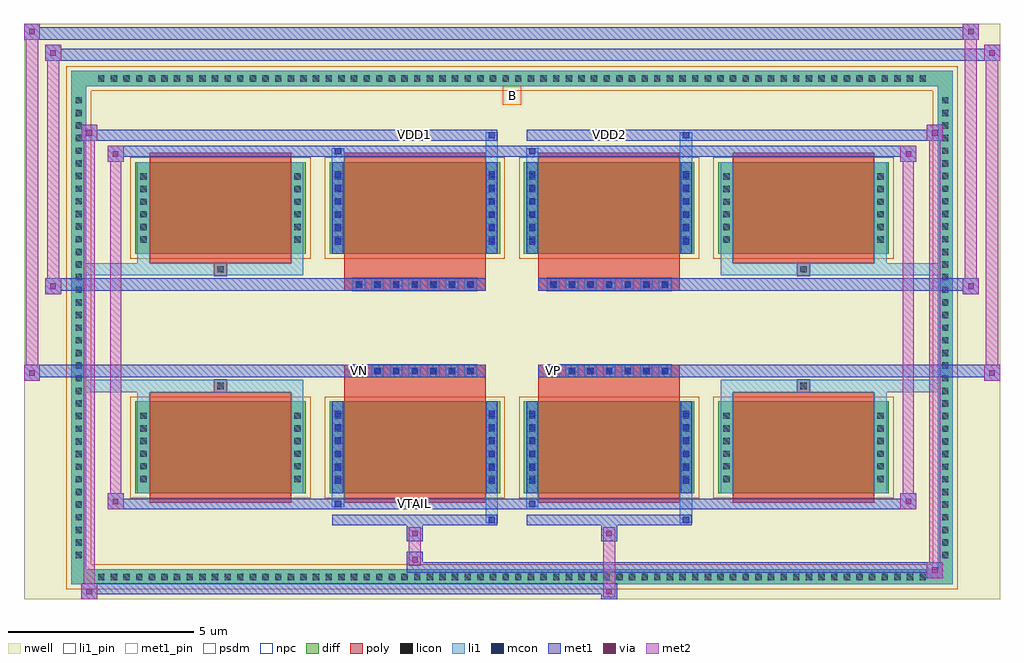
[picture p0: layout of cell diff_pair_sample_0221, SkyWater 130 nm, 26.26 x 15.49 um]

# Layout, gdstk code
import gdstk
lib = gdstk.Library(unit=1e-6, precision=5e-09)
def R(c, l, rs):  # rectangles x0, y0, x1, y1
    for r in rs: c.add(gdstk.rectangle(r[:2], r[2:], *l))
def A(c, l, x, y, w, h, nx, ny, dx, dy):  # array of equal rectangles
    R(c, l, [(x+i*dx, y+j*dy, x+i*dx+w, y+j*dy+h) for i in range(nx) for j in range(ny)])
def P(c, l, *ps):  # polygons
    for p in ps: c.add(gdstk.Polygon(p, *l))
nwell = (64, 20)
diff = (65, 20)
poly = (66, 20)
licon = (66, 44)
li1_pin = (67, 16)
li1 = (67, 20)
mcon = (67, 44)
met1_pin = (68, 16)
met1 = (68, 20)
via = (68, 44)
met2 = (69, 20)
psdm = (94, 20)
npc = (95, 20)

diff_pair_sample_0221 = lib.new_cell('diff_pair_sample_0221')
R(diff_pair_sample_0221, nwell, [(-13.13,-7.31,13.13,8.18), (-10.45,-5.5,-0.01,-0.8), (0.01,-5.5,10.45,-0.8), (-10.45,0.8,-0.01,5.5), (0.01,0.8,10.45,5.5)])
A(diff_pair_sample_0221, diff, -11.255, -6.91, 0.41, 0.41, 66, 2, 0.34, 13.41)
A(diff_pair_sample_0221, diff, -11.86, -6.325, 0.41, 0.41, 1, 37, 0, 0.34)
A(diff_pair_sample_0221, diff, 11.45, -6.325, 0.41, 0.41, 1, 37, 0, 0.34)
A(diff_pair_sample_0221, diff, -10.14, -4.455, 4.59, 2.47, 4, 2, 5.23, 6.44)
R(diff_pair_sample_0221, diff, [(-11.255,-6.91,11.255,-6.5), (-11.86,-6.325,-11.45,6.325), (11.45,-6.325,11.86,6.325), (-11.255,6.5,11.255,6.91)])
P(diff_pair_sample_0221, diff, [(11.86,6.91),(-11.86,6.91),(-11.86,-6.5),(-11.45,-6.5),(-11.45,6.5),(11.45,6.5),(11.45,-6.5),(-11.45,-6.5),(-11.86,-6.5),(-11.86,-6.91),(11.86,-6.91)])
A(diff_pair_sample_0221, poly, -9.75, -4.705, 3.81, 2.97, 4, 2, 5.23, 6.44)
A(diff_pair_sample_0221, poly, -4.28, -1.33, 0.33, 0.33, 7, 2, 0.5, 2.33)
A(diff_pair_sample_0221, poly, 0.95, -1.33, 0.33, 0.33, 7, 2, 0.5, 2.33)
R(diff_pair_sample_0221, poly, [(-8.01,-1.735,-7.68,-1.405), (-8.01,-1.735,-7.68,-1.405), (-4.52,-1.735,-0.71,-1.33), (0.71,-1.735,4.52,-1.33), (7.68,-1.735,8.01,-1.405), (7.68,-1.735,8.01,-1.405), (-4.52,-1.33,-0.71,-1), (0.71,-1.33,4.52,-1), (-4.52,1,-0.71,1.33), (0.71,1,4.52,1.33), (-4.52,1.33,-0.71,1.735), (0.71,1.33,4.52,1.735), (-8.01,1.405,-7.68,1.735), (-8.01,1.405,-7.68,1.735), (7.68,1.405,8.01,1.735), (7.68,1.405,8.01,1.735)])
A(diff_pair_sample_0221, licon, -11.135, -6.79, 0.17, 0.17, 66, 2, 0.34, 13.41)
A(diff_pair_sample_0221, licon, -11.74, -6.205, 0.17, 0.17, 1, 37, 0, 0.34)
A(diff_pair_sample_0221, licon, 11.57, -6.205, 0.17, 0.17, 1, 37, 0, 0.34)
A(diff_pair_sample_0221, licon, -10, -4.155, 0.17, 0.17, 1, 6, 0, 0.34)
A(diff_pair_sample_0221, licon, -5.86, -4.155, 0.17, 0.17, 1, 6, 0, 0.34)
A(diff_pair_sample_0221, licon, -4.77, -4.155, 0.17, 0.17, 1, 6, 0, 0.34)
A(diff_pair_sample_0221, licon, -0.63, -4.155, 0.17, 0.17, 1, 6, 0, 0.34)
A(diff_pair_sample_0221, licon, 0.46, -4.155, 0.17, 0.17, 1, 6, 0, 0.34)
A(diff_pair_sample_0221, licon, 4.6, -4.155, 0.17, 0.17, 1, 6, 0, 0.34)
A(diff_pair_sample_0221, licon, 5.69, -4.155, 0.17, 0.17, 1, 6, 0, 0.34)
A(diff_pair_sample_0221, licon, 9.83, -4.155, 0.17, 0.17, 1, 6, 0, 0.34)
A(diff_pair_sample_0221, licon, -4.2, -1.25, 0.17, 0.17, 7, 2, 0.5, 2.33)
A(diff_pair_sample_0221, licon, 1.03, -1.25, 0.17, 0.17, 7, 2, 0.5, 2.33)
A(diff_pair_sample_0221, licon, -10, 2.285, 0.17, 0.17, 1, 6, 0, 0.34)
A(diff_pair_sample_0221, licon, -5.86, 2.285, 0.17, 0.17, 1, 6, 0, 0.34)
A(diff_pair_sample_0221, licon, -4.77, 2.285, 0.17, 0.17, 1, 6, 0, 0.34)
A(diff_pair_sample_0221, licon, -0.63, 2.285, 0.17, 0.17, 1, 6, 0, 0.34)
A(diff_pair_sample_0221, licon, 0.46, 2.285, 0.17, 0.17, 1, 6, 0, 0.34)
A(diff_pair_sample_0221, licon, 4.6, 2.285, 0.17, 0.17, 1, 6, 0, 0.34)
A(diff_pair_sample_0221, licon, 5.69, 2.285, 0.17, 0.17, 1, 6, 0, 0.34)
A(diff_pair_sample_0221, licon, 9.83, 2.285, 0.17, 0.17, 1, 6, 0, 0.34)
R(diff_pair_sample_0221, licon, [(-7.93,-1.655,-7.76,-1.485), (7.76,-1.655,7.93,-1.485), (-7.93,1.485,-7.76,1.655), (7.76,1.485,7.93,1.655)])
R(diff_pair_sample_0221, li1_pin, [(-0.25,6,0.25,6.5)])
A(diff_pair_sample_0221, li1, -11.215, -6.87, 0.33, 0.33, 66, 2, 0.34, 13.41)
A(diff_pair_sample_0221, li1, -11.82, -6.285, 0.33, 0.33, 1, 37, 0, 0.34)
A(diff_pair_sample_0221, li1, 11.49, -6.285, 0.33, 0.33, 1, 37, 0, 0.34)
A(diff_pair_sample_0221, li1, -10.08, -4.235, 0.33, 0.33, 1, 6, 0, 0.34)
A(diff_pair_sample_0221, li1, -5.94, -4.235, 0.33, 0.33, 1, 6, 0, 0.34)
A(diff_pair_sample_0221, li1, -4.85, -4.235, 0.33, 0.33, 1, 6, 0, 0.34)
A(diff_pair_sample_0221, li1, -0.71, -4.235, 0.33, 0.33, 1, 6, 0, 0.34)
A(diff_pair_sample_0221, li1, 0.38, -4.235, 0.33, 0.33, 1, 6, 0, 0.34)
A(diff_pair_sample_0221, li1, 4.52, -4.235, 0.33, 0.33, 1, 6, 0, 0.34)
A(diff_pair_sample_0221, li1, 5.61, -4.235, 0.33, 0.33, 1, 6, 0, 0.34)
A(diff_pair_sample_0221, li1, 9.75, -4.235, 0.33, 0.33, 1, 6, 0, 0.34)
A(diff_pair_sample_0221, li1, -4.77, -4.205, 0.17, 0.17, 1, 6, 0, 0.36)
A(diff_pair_sample_0221, li1, -0.63, -4.205, 0.17, 0.17, 1, 6, 0, 0.36)
A(diff_pair_sample_0221, li1, 0.46, -4.205, 0.17, 0.17, 1, 6, 0, 0.36)
A(diff_pair_sample_0221, li1, 4.6, -4.205, 0.17, 0.17, 1, 6, 0, 0.36)
A(diff_pair_sample_0221, li1, -4.28, -1.33, 0.33, 0.33, 7, 2, 0.5, 2.33)
A(diff_pair_sample_0221, li1, 0.95, -1.33, 0.33, 0.33, 7, 2, 0.5, 2.33)
A(diff_pair_sample_0221, li1, -10.08, 2.205, 0.33, 0.33, 1, 6, 0, 0.34)
A(diff_pair_sample_0221, li1, -5.94, 2.205, 0.33, 0.33, 1, 6, 0, 0.34)
A(diff_pair_sample_0221, li1, -4.85, 2.205, 0.33, 0.33, 1, 6, 0, 0.34)
A(diff_pair_sample_0221, li1, -0.71, 2.205, 0.33, 0.33, 1, 6, 0, 0.34)
A(diff_pair_sample_0221, li1, 0.38, 2.205, 0.33, 0.33, 1, 6, 0, 0.34)
A(diff_pair_sample_0221, li1, 4.52, 2.205, 0.33, 0.33, 1, 6, 0, 0.34)
A(diff_pair_sample_0221, li1, 5.61, 2.205, 0.33, 0.33, 1, 6, 0, 0.34)
A(diff_pair_sample_0221, li1, 9.75, 2.205, 0.33, 0.33, 1, 6, 0, 0.34)
A(diff_pair_sample_0221, li1, -4.77, 2.235, 0.17, 0.17, 1, 6, 0, 0.36)
A(diff_pair_sample_0221, li1, -0.63, 2.235, 0.17, 0.17, 1, 6, 0, 0.36)
A(diff_pair_sample_0221, li1, 0.46, 2.235, 0.17, 0.17, 1, 6, 0, 0.36)
A(diff_pair_sample_0221, li1, 4.6, 2.235, 0.17, 0.17, 1, 6, 0, 0.36)
R(diff_pair_sample_0221, li1, [(-11.86,-6.91,-11.45,-6.5), (-11.86,-6.91,-11.45,-6.5), (-11.45,-6.91,11.45,-6.5), (11.45,-6.91,11.86,-6.5), (11.45,-6.91,11.86,-6.5), (-11.86,-6.5,-11.45,6.5), (11.45,-6.5,11.86,6.5), (-0.71,-5.26,-0.38,-4.455), (-0.63,-5.26,-0.46,-5.09), (4.52,-5.26,4.85,-4.455), (4.6,-5.26,4.77,-5.09), (-4.85,-4.83,-4.52,-4.455), (-4.77,-4.83,-4.6,-4.66), (0.38,-4.83,0.71,-4.455), (0.46,-4.83,0.63,-4.66), (-10.08,-4.455,-9.75,-1.985), (-5.94,-4.455,-5.61,-1.985), (-4.85,-4.455,-4.52,-1.985), (-0.71,-4.455,-0.38,-1.985), (0.38,-4.455,0.71,-1.985), (4.52,-4.455,4.85,-1.985), (5.61,-4.455,5.94,-1.985), (9.75,-4.455,10.08,-1.985), (-4.77,-4.205,-4.6,-2.235), (-0.63,-4.205,-0.46,-2.235), (0.46,-4.205,0.63,-2.235), (4.6,-4.205,4.77,-2.235), (-10.08,-1.985,-9.75,-1.405), (-5.94,-1.985,-5.61,-1.405), (5.61,-1.985,5.94,-1.405), (9.75,-1.985,10.08,-1.405), (-11.86,-1.735,-8.01,-1.405), (-10.08,-1.735,-8.01,-1.405), (-8.01,-1.735,-7.68,-1.405), (-7.68,-1.735,-5.61,-1.405), (5.61,-1.735,7.68,-1.405), (7.68,-1.735,8.01,-1.405), (7.68,-1.735,11.86,-1.405), (8.01,-1.735,10.08,-1.405), (-11.86,1.405,-8.01,1.735), (-10.08,1.405,-8.01,1.735), (-10.08,1.405,-9.75,1.985), (-8.01,1.405,-7.68,1.735), (-7.68,1.405,-5.61,1.735), (-5.94,1.405,-5.61,1.985), (5.61,1.405,7.68,1.735), (5.61,1.405,5.94,1.985), (7.68,1.405,8.01,1.735), (7.68,1.405,11.86,1.735), (8.01,1.405,10.08,1.735), (9.75,1.405,10.08,1.985), (-10.08,1.985,-9.75,4.455), (-5.94,1.985,-5.61,4.455), (-4.85,1.985,-4.52,4.455), (-0.71,1.985,-0.38,4.455), (0.38,1.985,0.71,4.455), (4.52,1.985,4.85,4.455), (5.61,1.985,5.94,4.455), (9.75,1.985,10.08,4.455), (-4.77,2.235,-4.6,4.205), (-0.63,2.235,-0.46,4.205), (0.46,2.235,0.63,4.205), (4.6,2.235,4.77,4.205), (-4.85,4.455,-4.52,4.83), (-0.71,4.455,-0.38,5.26), (0.38,4.455,0.71,4.83), (4.52,4.455,4.85,5.26), (-4.77,4.66,-4.6,4.83), (0.46,4.66,0.63,4.83), (-0.63,5.09,-0.46,5.26), (4.6,5.09,4.77,5.26), (-11.86,6.5,-11.45,6.91), (-11.86,6.5,-11.45,6.91), (-11.45,6.5,11.45,6.91), (11.45,6.5,11.86,6.91), (11.45,6.5,11.86,6.91)])
A(diff_pair_sample_0221, mcon, -4.77, -4.205, 0.17, 0.17, 1, 6, 0, 0.36)
A(diff_pair_sample_0221, mcon, -0.63, -4.205, 0.17, 0.17, 1, 6, 0, 0.36)
A(diff_pair_sample_0221, mcon, 0.46, -4.205, 0.17, 0.17, 1, 6, 0, 0.36)
A(diff_pair_sample_0221, mcon, 4.6, -4.205, 0.17, 0.17, 1, 6, 0, 0.36)
A(diff_pair_sample_0221, mcon, -4.2, -1.25, 0.17, 0.17, 7, 2, 0.5, 2.33)
A(diff_pair_sample_0221, mcon, 1.03, -1.25, 0.17, 0.17, 7, 2, 0.5, 2.33)
A(diff_pair_sample_0221, mcon, -4.77, 2.235, 0.17, 0.17, 1, 6, 0, 0.36)
A(diff_pair_sample_0221, mcon, -0.63, 2.235, 0.17, 0.17, 1, 6, 0, 0.36)
A(diff_pair_sample_0221, mcon, 0.46, 2.235, 0.17, 0.17, 1, 6, 0, 0.36)
A(diff_pair_sample_0221, mcon, 4.6, 2.235, 0.17, 0.17, 1, 6, 0, 0.36)
R(diff_pair_sample_0221, mcon, [(-0.63,-5.26,-0.46,-5.09), (4.6,-5.26,4.77,-5.09), (-4.77,-4.83,-4.6,-4.66), (0.46,-4.83,0.63,-4.66), (-4.77,4.66,-4.6,4.83), (0.46,4.66,0.63,4.83), (-0.63,5.09,-0.46,5.26), (4.6,5.09,4.77,5.26)])
R(diff_pair_sample_0221, met1_pin, [(-2.75,-4.87,-2.48,-4.6), (-4.25,-1.29,-3.98,-1.02), (0.98,-1.29,1.25,-1.02), (-2.75,5.05,-2.48,5.32), (2.48,5.05,2.75,5.32)])
A(diff_pair_sample_0221, met1, -4.83, -4.265, 0.29, 0.29, 1, 6, 0, 0.36)
A(diff_pair_sample_0221, met1, -0.69, -4.265, 0.29, 0.29, 1, 6, 0, 0.36)
A(diff_pair_sample_0221, met1, 0.4, -4.265, 0.29, 0.29, 1, 6, 0, 0.36)
A(diff_pair_sample_0221, met1, 4.54, -4.265, 0.29, 0.29, 1, 6, 0, 0.36)
A(diff_pair_sample_0221, met1, -4.26, -1.31, 0.29, 0.29, 7, 2, 0.5, 2.33)
A(diff_pair_sample_0221, met1, 0.97, -1.31, 0.29, 0.29, 7, 2, 0.5, 2.33)
A(diff_pair_sample_0221, met1, -4.83, 2.175, 0.29, 0.29, 1, 6, 0, 0.36)
A(diff_pair_sample_0221, met1, -0.69, 2.175, 0.29, 0.29, 1, 6, 0, 0.36)
A(diff_pair_sample_0221, met1, 0.4, 2.175, 0.29, 0.29, 1, 6, 0, 0.36)
A(diff_pair_sample_0221, met1, 4.54, 2.175, 0.29, 0.29, 1, 6, 0, 0.36)
R(diff_pair_sample_0221, met1, [(-11.59,-7.31,-11.16,-6.88), (2.4,-7.31,2.83,-6.88), (-11.59,-7.17,2.83,-6.88), (11.16,-6.74,11.59,-6.31), (-2.83,-6.6,11.59,-6.31), (-2.83,-6.46,-2.4,-6.03), (-2.83,-5.75,-2.4,-5.32), (2.4,-5.75,2.83,-5.32), (-4.83,-5.32,-0.4,-5.03), (-0.69,-5.32,-0.4,-5.03), (0.4,-5.32,4.83,-5.03), (4.54,-5.32,4.83,-5.03), (-10.88,-4.89,-10.45,-4.46), (-10.88,-4.89,-4.83,-4.6), (-4.83,-4.89,-4.54,-4.6), (-4.83,-4.89,-0.4,-4.6), (-0.4,-4.89,0.4,-4.6), (0.4,-4.89,0.69,-4.6), (0.4,-4.89,4.83,-4.6), (4.83,-4.89,10.88,-4.6), (10.45,-4.89,10.88,-4.46), (-4.83,-4.455,-4.54,-1.985), (-0.69,-4.455,-0.4,-1.985), (0.4,-4.455,0.69,-1.985), (4.54,-4.455,4.83,-1.985), (-13.13,-1.43,-12.7,-1), (12.7,-1.43,13.13,-1), (-13.13,-1.33,-0.71,-1), (-4.52,-1.33,-0.71,-1), (0.71,-1.33,4.52,-1), (0.71,-1.33,13.13,-1), (-12.56,0.9,-12.13,1.33), (12.13,0.9,12.56,1.33), (-12.56,1,-4.52,1.33), (-4.52,1,-0.71,1.33), (0.71,1,4.52,1.33), (4.52,1,12.56,1.33), (-4.83,1.985,-4.54,4.455), (-0.69,1.985,-0.4,4.455), (0.4,1.985,0.69,4.455), (4.54,1.985,4.83,4.455), (-10.88,4.46,-10.45,4.89), (10.45,4.46,10.88,4.89), (-10.88,4.6,-4.83,4.89), (-4.83,4.6,-4.54,4.89), (-4.83,4.6,-0.4,4.89), (-0.4,4.6,0.4,4.89), (0.4,4.6,0.69,4.89), (0.4,4.6,4.83,4.89), (4.83,4.6,10.88,4.89), (-11.59,5.03,-11.16,5.46), (-11.59,5.03,-4.83,5.32), (-4.83,5.03,-0.4,5.32), (-0.69,5.03,-0.4,5.32), (0.4,5.03,4.83,5.32), (4.54,5.03,4.83,5.32), (4.83,5.03,11.59,5.32), (11.16,5.03,11.59,5.46), (-12.56,7.18,-12.13,7.61), (-12.56,7.18,-10.45,7.51), (-10.45,7.18,10.45,7.51), (10.45,7.18,13.13,7.51), (12.7,7.18,13.13,7.61), (-13.13,7.75,-12.7,8.18), (-13.13,7.75,-10.45,8.08), (-10.45,7.75,10.45,8.08), (10.45,7.75,12.56,8.08), (12.13,7.75,12.56,8.18)])
R(diff_pair_sample_0221, via, [(-11.45,-7.17,-11.3,-7.02), (2.54,-7.17,2.69,-7.02), (11.3,-6.6,11.45,-6.45), (-2.69,-6.32,-2.54,-6.17), (-2.69,-5.61,-2.54,-5.46), (2.54,-5.61,2.69,-5.46), (-10.74,-4.75,-10.59,-4.6), (10.59,-4.75,10.74,-4.6), (-12.99,-1.29,-12.84,-1.14), (12.84,-1.29,12.99,-1.14), (-12.42,1.04,-12.27,1.19), (12.27,1.04,12.42,1.19), (-10.74,4.6,-10.59,4.75), (10.59,4.6,10.74,4.75), (-11.45,5.17,-11.3,5.32), (11.3,5.17,11.45,5.32), (-12.42,7.32,-12.27,7.47), (12.84,7.32,12.99,7.47), (-12.99,7.89,-12.84,8.04), (12.27,7.89,12.42,8.04)])
R(diff_pair_sample_0221, met2, [(-11.59,-7.31,-11.16,-6.88), (-11.52,-7.31,-11.23,5.46), (-11.23,-7.31,-11.16,-6.88), (-11.54,-7.26,-11.21,-6.93), (2.45,-7.26,2.78,-6.93), (2.45,-6.93,2.78,-5.7), (11.16,-6.74,11.59,-6.31), (11.23,-6.74,11.52,5.46), (11.52,-6.74,11.59,-6.31), (11.21,-6.69,11.54,-6.36), (-2.78,-6.41,-2.45,-6.08), (-2.78,-6.08,-2.45,-5.7), (-2.78,-5.7,-2.45,-5.37), (2.45,-5.7,2.78,-5.37), (-10.88,-4.89,-10.45,-4.46), (-10.81,-4.89,-10.52,4.89), (-10.52,-4.89,-10.45,-4.46), (10.45,-4.89,10.88,-4.46), (10.52,-4.89,10.81,4.89), (10.81,-4.89,10.88,-4.46), (-10.83,-4.84,-10.5,-4.51), (10.5,-4.84,10.83,-4.51), (-13.13,-1.43,-12.7,-1), (-13.08,-1.43,-12.75,8.18), (-12.75,-1.43,-12.7,-1), (12.7,-1.43,13.13,-1), (12.75,-1.43,13.08,7.61), (13.08,-1.43,13.13,-1), (-13.08,-1.38,-12.75,-1.05), (12.75,-1.38,13.08,-1.05), (-12.56,0.9,-12.13,1.33), (-12.51,0.9,-12.18,7.61), (-12.18,0.9,-12.13,1.33), (12.13,0.9,12.56,1.33), (12.18,0.9,12.51,8.18), (12.51,0.9,12.56,1.33), (-12.51,0.95,-12.18,1.28), (12.18,0.95,12.51,1.28), (-10.88,4.46,-10.45,4.89), (-10.52,4.46,-10.45,4.89), (10.45,4.46,10.88,4.89), (10.81,4.46,10.88,4.89), (-10.83,4.51,-10.5,4.84), (10.5,4.51,10.83,4.84), (-11.59,5.03,-11.16,5.46), (-11.23,5.03,-11.16,5.46), (11.16,5.03,11.59,5.46), (11.52,5.03,11.59,5.46), (-11.54,5.08,-11.21,5.41), (11.21,5.08,11.54,5.41), (-12.56,7.18,-12.13,7.61), (-12.18,7.18,-12.13,7.61), (12.7,7.18,13.13,7.61), (13.08,7.18,13.13,7.61), (-12.51,7.23,-12.18,7.56), (12.75,7.23,13.08,7.56), (-13.13,7.75,-12.7,8.18), (-12.75,7.75,-12.7,8.18), (12.13,7.75,12.56,8.18), (12.51,7.75,12.56,8.18), (-13.08,7.8,-12.75,8.13), (12.18,7.8,12.51,8.13)])
A(diff_pair_sample_0221, psdm, -10.27, -4.585, 4.85, 2.73, 4, 2, 5.23, 6.44)
P(diff_pair_sample_0221, psdm, [(11.99,7.04),(-11.99,7.04),(-11.99,-6.37),(-11.32,-6.37),(-11.32,6.37),(11.32,6.37),(11.32,-6.37),(-11.32,-6.37),(-11.99,-6.37),(-11.99,-7.04),(11.99,-7.04)])
A(diff_pair_sample_0221, npc, -4.3, -1.35, 0.37, 0.37, 7, 2, 0.5, 2.33)
A(diff_pair_sample_0221, npc, 0.93, -1.35, 0.37, 0.37, 7, 2, 0.5, 2.33)
R(diff_pair_sample_0221, npc, [(-8.03,-1.755,-7.66,-1.385), (7.66,-1.755,8.03,-1.385), (-4.3,-1.35,-3.43,-0.98), (-4.3,-1.35,-3.43,-0.98), (-3.8,-1.35,-2.93,-0.98), (-3.8,-1.35,-2.93,-0.98), (-3.3,-1.35,-2.43,-0.98), (-3.3,-1.35,-2.43,-0.98), (-2.8,-1.35,-1.93,-0.98), (-2.8,-1.35,-1.93,-0.98), (-2.3,-1.35,-1.43,-0.98), (-2.3,-1.35,-1.43,-0.98), (-1.8,-1.35,-0.93,-0.98), (-1.8,-1.35,-0.93,-0.98), (0.93,-1.35,1.8,-0.98), (0.93,-1.35,1.8,-0.98), (1.43,-1.35,2.3,-0.98), (1.43,-1.35,2.3,-0.98), (1.93,-1.35,2.8,-0.98), (1.93,-1.35,2.8,-0.98), (2.43,-1.35,3.3,-0.98), (2.43,-1.35,3.3,-0.98), (2.93,-1.35,3.8,-0.98), (2.93,-1.35,3.8,-0.98), (3.43,-1.35,4.3,-0.98), (3.43,-1.35,4.3,-0.98), (-4.3,0.98,-3.43,1.35), (-4.3,0.98,-3.43,1.35), (-3.8,0.98,-2.93,1.35), (-3.8,0.98,-2.93,1.35), (-3.3,0.98,-2.43,1.35), (-3.3,0.98,-2.43,1.35), (-2.8,0.98,-1.93,1.35), (-2.8,0.98,-1.93,1.35), (-2.3,0.98,-1.43,1.35), (-2.3,0.98,-1.43,1.35), (-1.8,0.98,-0.93,1.35), (-1.8,0.98,-0.93,1.35), (0.93,0.98,1.8,1.35), (0.93,0.98,1.8,1.35), (1.43,0.98,2.3,1.35), (1.43,0.98,2.3,1.35), (1.93,0.98,2.8,1.35), (1.93,0.98,2.8,1.35), (2.43,0.98,3.3,1.35), (2.43,0.98,3.3,1.35), (2.93,0.98,3.8,1.35), (2.93,0.98,3.8,1.35), (3.43,0.98,4.3,1.35), (3.43,0.98,4.3,1.35), (-8.03,1.385,-7.66,1.755), (7.66,1.385,8.03,1.755)])
diff_pair_sample_0221.add(gdstk.Label('VTAIL', (-2.615,-4.735), layer=68, texttype=5))
diff_pair_sample_0221.add(gdstk.Label('VN', (-4.115,-1.155), layer=68, texttype=5))
diff_pair_sample_0221.add(gdstk.Label('VP', (1.115,-1.155), layer=68, texttype=5))
diff_pair_sample_0221.add(gdstk.Label('B', (0,6.25), layer=67, texttype=5))
diff_pair_sample_0221.add(gdstk.Label('VDD2', (2.615,5.185), layer=68, texttype=5))
diff_pair_sample_0221.add(gdstk.Label('VDD1', (-2.615,5.185), layer=68, texttype=5))

lib.write_gds('diff_pair_sample_0221.gds')
